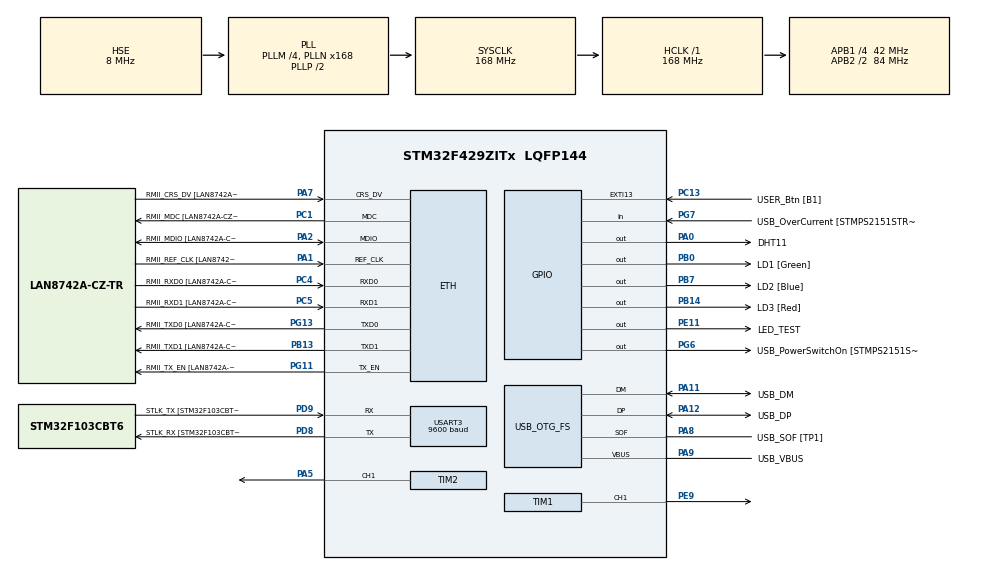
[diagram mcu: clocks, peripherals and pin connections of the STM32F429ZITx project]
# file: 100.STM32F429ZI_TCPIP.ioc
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ETH.MACAddr=00\:80\:E1\:00\:00\:78
ETH.MediaInterface=ETH_MEDIA_INTERFACE_RMII
ETH.PHY_Name=LAN8742A_PHY_ADDRESS
ETH.PHY_Value=0
ETH.PhyAddress=0
LWIP.GATEWAY_ADDRESS=010.010.016.254
LWIP.IP_ADDRESS=010.010.016.120
LWIP.LWIP_DHCP=0
LWIP.NETMASK_ADDRESS=255.255.255.000
LWIP.Version=v2.1.2_Cube
Mcu.Family=STM32F4
Mcu.Name=STM32F429ZITx
Mcu.Package=LQFP144
NVIC.ETH_IRQn=true\:0\:0\:false\:false\:true\:true\:true
NVIC.ETH_WKUP_IRQn=true\:0\:0\:false\:false\:true\:true\:true
NVIC.PriorityGroup=NVIC_PRIORITYGROUP_4
NVIC.TIM1_TRG_COM_TIM11_IRQn=true\:0\:0\:false\:false\:true\:true\:true
NVIC.TIM1_UP_TIM10_IRQn=true\:0\:0\:false\:false\:true\:true\:true
NVIC.TIM2_IRQn=true\:0\:0\:false\:false\:true\:true\:true
NVIC.USART3_IRQn=true\:0\:0\:false\:false\:true\:true\:true
PA0/WKUP.GPIO_Label=DHT11
PA0/WKUP.Signal=GPIO_Output
PA1.GPIO_Label=RMII_REF_CLK [LAN8742A-CZ-TR_REFCLK0]
PA1.Mode=RMII
PA1.Signal=ETH_REF_CLK
PA10.GPIO_Label=USB_ID
PA10.Signal=USB_OTG_FS_ID
PA11.GPIO_Label=USB_DM
PA11.Mode=Device_Only
PA11.Signal=USB_OTG_FS_DM
PA12.GPIO_Label=USB_DP
PA12.Mode=Device_Only
PA12.Signal=USB_OTG_FS_DP
PA13.GPIO_Label=TMS
PA13.Mode=Serial_Wire
PA13.Signal=SYS_JTMS-SWDIO
PA14.GPIO_Label=TCK
PA14.Mode=Serial_Wire
PA14.Signal=SYS_JTCK-SWCLK
PA2.GPIO_Label=RMII_MDIO [LAN8742A-CZ-TR_MDIO]
PA2.Mode=RMII
PA2.Signal=ETH_MDIO
PA5.Signal=S_TIM2_CH1_ETR
PA7.GPIO_Label=RMII_CRS_DV [LAN8742A-CZ-TR_CRS_DV]
PA7.Mode=RMII
PA7.Signal=ETH_CRS_DV
PA8.GPIO_Label=USB_SOF [TP1]
PA8.Mode=Activate_SOF_FS
PA8.Signal=USB_OTG_FS_SOF
PA9.GPIO_Label=USB_VBUS
PA9.Mode=Activate_VBUS
PA9.Signal=USB_OTG_FS_VBUS
PB0.GPIO_Label=LD1 [Green]
PB0.Signal=GPIO_Output
PB13.GPIO_Label=RMII_TXD1 [LAN8742A-CZ-TR_TXD1]
PB13.Mode=RMII
PB13.Signal=ETH_TXD1
PB14.GPIO_Label=LD3 [Red]
PB14.Signal=GPIO_Output
PB7.GPIO_Label=LD2 [Blue]
PB7.Signal=GPIO_Output
PC1.GPIO_Label=RMII_MDC [LAN8742A-CZ-TR_MDC]
PC1.Mode=RMII
PC1.Signal=ETH_MDC
PC13.GPIO_Label=USER_Btn [B1]
PC13.Signal=GPXTI13
PC14/OSC32_IN.Mode=LSE-External-Oscillator
PC14/OSC32_IN.Signal=RCC_OSC32_IN
PC15/OSC32_OUT.Mode=LSE-External-Oscillator
PC15/OSC32_OUT.Signal=RCC_OSC32_OUT
PC4.GPIO_Label=RMII_RXD0 [LAN8742A-CZ-TR_RXD0]
PC4.Mode=RMII
PC4.Signal=ETH_RXD0
PC5.GPIO_Label=RMII_RXD1 [LAN8742A-CZ-TR_RXD1]
PC5.Mode=RMII
PC5.Signal=ETH_RXD1
PD8.GPIO_Label=STLK_RX [STM32F103CBT6_PA3]
PD8.Mode=Asynchronous
PD8.Signal=USART3_TX
PD9.GPIO_Label=STLK_TX [STM32F103CBT6_PA2]
PD9.Mode=Asynchronous
PD9.Signal=USART3_RX
PE11.GPIO_Label=LED_TEST
PE11.Signal=GPIO_Output
PE9.Signal=S_TIM1_CH1
PG11.GPIO_Label=RMII_TX_EN [LAN8742A-CZ-TR_TXEN]
PG11.Mode=RMII
PG11.Signal=ETH_TX_EN
PG13.GPIO_Label=RMII_TXD0 [LAN8742A-CZ-TR_TXD0]
PG13.Mode=RMII
PG13.Signal=ETH_TXD0
PG6.GPIO_Label=USB_PowerSwitchOn [STMPS2151STR_EN]
PG6.Signal=GPIO_Output
PG7.GPIO_Label=USB_OverCurrent [STMPS2151STR_FAULT]
PG7.Signal=GPIO_Input
PH0/OSC_IN.GPIO_Label=MCO [STM32F103CBT6_PA8]
PH0/OSC_IN.Mode=HSE-External-Clock-Source
PH0/OSC_IN.Signal=RCC_OSC_IN
PH1/OSC_OUT.Mode=HSE-External-Clock-Source
PH1/OSC_OUT.Signal=RCC_OSC_OUT
ProjectManager.HeapSize=0x200
ProjectManager.StackSize=0x400
ProjectManager.TargetToolchain=STM32CubeIDE
RCC.48MHZClocksFreq_Value=48000000
RCC.AHBFreq_Value=168000000
RCC.APB1CLKDivider=RCC_HCLK_DIV4
RCC.APB1Freq_Value=42000000
RCC.APB1TimFreq_Value=84000000
RCC.APB2CLKDivider=RCC_HCLK_DIV2
RCC.APB2Freq_Value=84000000
RCC.APB2TimCLKDivider=2
RCC.APB2TimFreq_Value=168000000
RCC.CortexFreq_Value=168000000
RCC.HCLKFreq_Value=168000000
RCC.HSE_VALUE=8000000
RCC.HSI_VALUE=16000000
RCC.PLLM=4
RCC.PLLMUL=RCC_PLL_MUL9
RCC.PLLN=168
RCC.PLLQ=7
RCC.PRESCALERUSB=RCC_USBCLKSOURCE_PLL_DIV1_5
RCC.SYSCLKFreq_VALUE=168000000
RCC.SYSCLKSource=RCC_SYSCLKSOURCE_PLLCLK
RCC.SYSCLKSourceVirtual=RCC_SYSCLKSOURCE_PLLCLK
RCC.USBFreq_Value=48000000
RCC.VCOOutputFreq_Value=336000000
SH.S_TIM1_CH1.0=TIM1_CH1,PWM Generation1 CH1
SH.S_TIM2_CH1_ETR.0=TIM2_CH1,PWM Generation1 CH1
TIM1.Channel-PWM\ Generation1\ CH1=TIM_CHANNEL_1
TIM1.Period=1000-1
TIM1.Prescaler=168-1
TIM10.Prescaler=168-1
TIM11.Period=1000-1
TIM11.Prescaler=168-1
TIM2.Channel-PWM\ Generation1\ CH1=TIM_CHANNEL_1
TIM2.Period=1000-1
TIM2.Prescaler=1680-1
USART3.BaudRate=9600
USART3.VirtualMode=VM_ASYNC
USB_OTG_FS.VirtualMode=Device_Only
VP_LWIP_VS_Enabled.Mode=Enabled
VP_TIM10_VS_ClockSourceINT.Mode=Enable_Timer
VP_TIM11_VS_ClockSourceINT.Mode=Enable_Timer
VP_TIM1_VS_ClockSourceINT.Mode=Internal
VP_TIM2_VS_ClockSourceINT.Mode=Internal
board=NUCLEO-F429ZI

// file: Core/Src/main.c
/* USER CODE BEGIN Header */
/**
  ******************************************************************************
  * @file           : main.c
  * @brief          : Main program body
  ******************************************************************************
  * @attention
  *
  * <h2><center>&copy; Copyright (c) 2024 STMicroelectronics.
  * All rights reserved.</center></h2>
  *
  * This software component is licensed by ST under BSD 3-Clause license,
  * the "License"; You may not use this file except in compliance with the
  * License. You may obtain a copy of the License at:
  *                        opensource.org/licenses/BSD-3-Clause
  *
  ******************************************************************************
  */
/* USER CODE END Header */
#include "main.h"
#include "lwip.h"

/* USER CODE BEGIN Includes */
#include "lwip/udp.h"     // ADD_SIKWON
#include "udp_echoserver.h"  // ADD_SIKWON
#include "servomotor.h"
#include "pwm_led.h"
/* USER CODE END Includes */

/* USER CODE BEGIN PD */
//-------- UDP start ------------
extern struct netif gnetif;
extern struct udp_pcb *upcb1;    // Add	UDP Control Block
ip_addr_t addr1;   // Add
extern uint8_t udp_data[100];    // Add
struct pbuf *p1;    // Add  Send buffer
char temp_and_humid[40] = "";
char dht11_interval_arr[40] = "";
extern uint8_t i_RH, d_RH, i_Tmp, d_Tmp;
static int dht11_interval=1;
extern uint8_t dht11_interval_flag;
//--------- UDP end ------------
/* USER CODE END PD */

TIM_HandleTypeDef htim1;
TIM_HandleTypeDef htim2;
TIM_HandleTypeDef htim10;
TIM_HandleTypeDef htim11;

UART_HandleTypeDef huart3;

PCD_HandleTypeDef hpcd_USB_OTG_FS;

void SystemClock_Config(void);
static void MX_GPIO_Init(void);
static void MX_USART3_UART_Init(void);
static void MX_USB_OTG_FS_PCD_Init(void);
static void MX_TIM10_Init(void);
static void MX_TIM11_Init(void);
static void MX_TIM1_Init(void);
static void MX_TIM2_Init(void);
/* USER CODE BEGIN PFP */
extern void DHT11_Init(void);
extern void DHT11_processing(void);

/* USER CODE END PFP */

/* USER CODE BEGIN 0 */
/**
  * @brief  Period elapsed callback in non-blocking mode
  * @param  htim TIM handle
  * @retval None
  */
volatile int TIM11_counter=0;
volatile int TIM11_1ms_servo_count=0;
void HAL_TIM_PeriodElapsedCallback(TIM_HandleTypeDef *htim)
{
	if(htim->Instance == TIM11){
		TIM11_counter++;
		TIM11_1ms_servo_count++;
	}

}
/* USER CODE END 0 */

int main(void)
{

  /* MCU Configuration--------------------------------------------------------*/

  /* Reset of all peripherals, Initializes the Flash interface and the Systick. */
  HAL_Init();

  /* Configure the system clock */
  SystemClock_Config();

  /* Initialize all configured peripherals */
  MX_GPIO_Init();
  MX_USART3_UART_Init();
  MX_USB_OTG_FS_PCD_Init();
  MX_LWIP_Init();
  MX_TIM10_Init();
  MX_TIM11_Init();
  MX_TIM1_Init();
  MX_TIM2_Init();
  /* USER CODE BEGIN 2 */
  HAL_TIM_Base_Start_IT(&htim11);  // ADD_MIKE_0614
  HAL_TIM_Base_Start_IT(&htim10);  // ADD_MIKE_0614
  /* PWM START */
  HAL_TIM_PWM_Start(&htim2, TIM_CHANNEL_1); // ADD_PWM_SERVO_MOTOR
  HAL_TIM_PWM_Start(&htim1, TIM_CHANNEL_1); // ADD_PWM_LED
  //-------- TCP/IP start -------------------
  udp_echoserver_init();  // ADD_SIKWON
  upcb1 = udp_new();    // ADD create new UDP control block
  IP4_ADDR(&addr1, 10,10,16,27);   // ADD client PC IP address
  udp_bind(upcb1, IP_ADDR_ANY,9999); // ADD S/W port
  //-------- TCP/IP end ---------------------
  DHT11_Init();
  /* USER CODE END 2 */

  /* Infinite loop */
  /* USER CODE BEGIN WHILE */
  while (1)
  {
	ethernetif_input(&gnetif);  // make ethernet packet as input mode
	sys_check_timeouts();   //timeout check
	servo_motor_in_PWM_manner();

	turn_on_LED_in_PWM_manner();

	if(dht11_interval_flag == 1){
		dht11_interval_flag = 0;
		HAL_GPIO_TogglePin(GPIOB, LD2_Pin); // to debug..
		//received data : "DHT11:3"
		strncpy(dht11_interval_arr,udp_data+6,2);
		dht11_interval = atoi(dht11_interval_arr);
	}

	if(TIM11_counter >= 1000 * dht11_interval){
		TIM11_counter = 0;
		DHT11_processing(); // call DHT11 processing

		sprintf(temp_and_humid, "[Tmp]%d [Hum]%d\n",(int) i_Tmp, (int) i_RH);
//		printf("[Tmp]%d [Hum]%d\n",(int) i_Tmp, (int) i_RH);

		HAL_UART_Transmit(&huart3, temp_and_humid, strlen(temp_and_humid), 30); // timeout : 30ms!!!
		udp_connect(upcb1, &addr1, 9999); // make udp connection using 9999 local pc port
		p1 = pbuf_alloc(PBUF_TRANSPORT, strlen((char*) temp_and_humid),
				PBUF_POOL); // assign system buffer to "p1"
		if (p1 != NULL) // OK alloc
		{
			// 1. copy data to pbuf
			pbuf_take(p1, (char*) temp_and_humid, strlen((char*) temp_and_humid));
			// 2. send udp data
			udp_send(upcb1, p1);
			// 3. free the UDP connection
			udp_disconnect(upcb1);
			// 4. free pbuf
			pbuf_free(p1);
		} else {
			HAL_UART_Transmit(&huart3, "pbuf not alloc!!\n",
					strlen("pbuf not alloc!!\n"), 10);
		}
	}
    /* USER CODE END WHILE */

  }
}

void SystemClock_Config(void)
{
  RCC_OscInitTypeDef RCC_OscInitStruct = {0};
  RCC_ClkInitTypeDef RCC_ClkInitStruct = {0};

  /** Configure the main internal regulator output voltage
  */
  __HAL_RCC_PWR_CLK_ENABLE();
  __HAL_PWR_VOLTAGESCALING_CONFIG(PWR_REGULATOR_VOLTAGE_SCALE1);
  /** Initializes the RCC Oscillators according to the specified parameters
  * in the RCC_OscInitTypeDef structure.
  */
  RCC_OscInitStruct.OscillatorType = RCC_OSCILLATORTYPE_HSE;
  RCC_OscInitStruct.HSEState = RCC_HSE_BYPASS;
  RCC_OscInitStruct.PLL.PLLState = RCC_PLL_ON;
  RCC_OscInitStruct.PLL.PLLSource = RCC_PLLSOURCE_HSE;
  RCC_OscInitStruct.PLL.PLLM = 4;
  RCC_OscInitStruct.PLL.PLLN = 168;
  RCC_OscInitStruct.PLL.PLLP = RCC_PLLP_DIV2;
  RCC_OscInitStruct.PLL.PLLQ = 7;
  if (HAL_RCC_OscConfig(&RCC_OscInitStruct) != HAL_OK)
  {
    Error_Handler();
  }
  /** Initializes the CPU, AHB and APB buses clocks
  */
  RCC_ClkInitStruct.ClockType = RCC_CLOCKTYPE_HCLK|RCC_CLOCKTYPE_SYSCLK
                              |RCC_CLOCKTYPE_PCLK1|RCC_CLOCKTYPE_PCLK2;
  RCC_ClkInitStruct.SYSCLKSource = RCC_SYSCLKSOURCE_PLLCLK;
  RCC_ClkInitStruct.AHBCLKDivider = RCC_SYSCLK_DIV1;
  RCC_ClkInitStruct.APB1CLKDivider = RCC_HCLK_DIV4;
  RCC_ClkInitStruct.APB2CLKDivider = RCC_HCLK_DIV2;

  if (HAL_RCC_ClockConfig(&RCC_ClkInitStruct, FLASH_LATENCY_5) != HAL_OK)
  {
    Error_Handler();
  }
}

static void MX_TIM1_Init(void)
{

  TIM_ClockConfigTypeDef sClockSourceConfig = {0};
  TIM_MasterConfigTypeDef sMasterConfig = {0};
  TIM_OC_InitTypeDef sConfigOC = {0};
  TIM_BreakDeadTimeConfigTypeDef sBreakDeadTimeConfig = {0};

  htim1.Instance = TIM1;
  htim1.Init.Prescaler = 168-1;
  htim1.Init.CounterMode = TIM_COUNTERMODE_UP;
  htim1.Init.Period = 1000-1;
  htim1.Init.ClockDivision = TIM_CLOCKDIVISION_DIV1;
  htim1.Init.RepetitionCounter = 0;
  htim1.Init.AutoReloadPreload = TIM_AUTORELOAD_PRELOAD_DISABLE;
  if (HAL_TIM_Base_Init(&htim1) != HAL_OK)
  {
    Error_Handler();
  }
  sClockSourceConfig.ClockSource = TIM_CLOCKSOURCE_INTERNAL;
  if (HAL_TIM_ConfigClockSource(&htim1, &sClockSourceConfig) != HAL_OK)
  {
    Error_Handler();
  }
  if (HAL_TIM_PWM_Init(&htim1) != HAL_OK)
  {
    Error_Handler();
  }
  sMasterConfig.MasterOutputTrigger = TIM_TRGO_RESET;
  sMasterConfig.MasterSlaveMode = TIM_MASTERSLAVEMODE_DISABLE;
  if (HAL_TIMEx_MasterConfigSynchronization(&htim1, &sMasterConfig) != HAL_OK)
  {
    Error_Handler();
  }
  sConfigOC.OCMode = TIM_OCMODE_PWM1;
  sConfigOC.Pulse = 0;
  sConfigOC.OCPolarity = TIM_OCPOLARITY_HIGH;
  sConfigOC.OCNPolarity = TIM_OCNPOLARITY_HIGH;
  sConfigOC.OCFastMode = TIM_OCFAST_DISABLE;
  sConfigOC.OCIdleState = TIM_OCIDLESTATE_RESET;
  sConfigOC.OCNIdleState = TIM_OCNIDLESTATE_RESET;
  if (HAL_TIM_PWM_ConfigChannel(&htim1, &sConfigOC, TIM_CHANNEL_1) != HAL_OK)
  {
    Error_Handler();
  }
  sBreakDeadTimeConfig.OffStateRunMode = TIM_OSSR_DISABLE;
  sBreakDeadTimeConfig.OffStateIDLEMode = TIM_OSSI_DISABLE;
  sBreakDeadTimeConfig.LockLevel = TIM_LOCKLEVEL_OFF;
  sBreakDeadTimeConfig.DeadTime = 0;
  sBreakDeadTimeConfig.BreakState = TIM_BREAK_DISABLE;
  sBreakDeadTimeConfig.BreakPolarity = TIM_BREAKPOLARITY_HIGH;
  sBreakDeadTimeConfig.AutomaticOutput = TIM_AUTOMATICOUTPUT_DISABLE;
  if (HAL_TIMEx_ConfigBreakDeadTime(&htim1, &sBreakDeadTimeConfig) != HAL_OK)
  {
    Error_Handler();
  }
  HAL_TIM_MspPostInit(&htim1);

}

static void MX_TIM2_Init(void)
{

  TIM_ClockConfigTypeDef sClockSourceConfig = {0};
  TIM_MasterConfigTypeDef sMasterConfig = {0};
  TIM_OC_InitTypeDef sConfigOC = {0};

  htim2.Instance = TIM2;
  htim2.Init.Prescaler = 1680-1;
  htim2.Init.CounterMode = TIM_COUNTERMODE_UP;
  htim2.Init.Period = 1000-1;
  htim2.Init.ClockDivision = TIM_CLOCKDIVISION_DIV1;
  htim2.Init.AutoReloadPreload = TIM_AUTORELOAD_PRELOAD_DISABLE;
  if (HAL_TIM_Base_Init(&htim2) != HAL_OK)
  {
    Error_Handler();
  }
  sClockSourceConfig.ClockSource = TIM_CLOCKSOURCE_INTERNAL;
  if (HAL_TIM_ConfigClockSource(&htim2, &sClockSourceConfig) != HAL_OK)
  {
    Error_Handler();
  }
  if (HAL_TIM_PWM_Init(&htim2) != HAL_OK)
  {
    Error_Handler();
  }
  sMasterConfig.MasterOutputTrigger = TIM_TRGO_RESET;
  sMasterConfig.MasterSlaveMode = TIM_MASTERSLAVEMODE_DISABLE;
  if (HAL_TIMEx_MasterConfigSynchronization(&htim2, &sMasterConfig) != HAL_OK)
  {
    Error_Handler();
  }
  sConfigOC.OCMode = TIM_OCMODE_PWM1;
  sConfigOC.Pulse = 0;
  sConfigOC.OCPolarity = TIM_OCPOLARITY_HIGH;
  sConfigOC.OCFastMode = TIM_OCFAST_DISABLE;
  if (HAL_TIM_PWM_ConfigChannel(&htim2, &sConfigOC, TIM_CHANNEL_1) != HAL_OK)
  {
    Error_Handler();
  }
  HAL_TIM_MspPostInit(&htim2);

}

static void MX_TIM10_Init(void)
{

  htim10.Instance = TIM10;
  htim10.Init.Prescaler = 168-1;
  htim10.Init.CounterMode = TIM_COUNTERMODE_UP;
  htim10.Init.Period = 65535;
  htim10.Init.ClockDivision = TIM_CLOCKDIVISION_DIV1;
  htim10.Init.AutoReloadPreload = TIM_AUTORELOAD_PRELOAD_DISABLE;
  if (HAL_TIM_Base_Init(&htim10) != HAL_OK)
  {
    Error_Handler();
  }

}

static void MX_TIM11_Init(void)
{

  htim11.Instance = TIM11;
  htim11.Init.Prescaler = 168-1;
  htim11.Init.CounterMode = TIM_COUNTERMODE_UP;
  htim11.Init.Period = 1000-1;
  htim11.Init.ClockDivision = TIM_CLOCKDIVISION_DIV1;
  htim11.Init.AutoReloadPreload = TIM_AUTORELOAD_PRELOAD_DISABLE;
  if (HAL_TIM_Base_Init(&htim11) != HAL_OK)
  {
    Error_Handler();
  }

}

static void MX_USART3_UART_Init(void)
{

  huart3.Instance = USART3;
  huart3.Init.BaudRate = 9600;
  huart3.Init.WordLength = UART_WORDLENGTH_8B;
  huart3.Init.StopBits = UART_STOPBITS_1;
  huart3.Init.Parity = UART_PARITY_NONE;
  huart3.Init.Mode = UART_MODE_TX_RX;
  huart3.Init.HwFlowCtl = UART_HWCONTROL_NONE;
  huart3.Init.OverSampling = UART_OVERSAMPLING_16;
  if (HAL_UART_Init(&huart3) != HAL_OK)
  {
    Error_Handler();
  }

}

static void MX_USB_OTG_FS_PCD_Init(void)
{

  hpcd_USB_OTG_FS.Instance = USB_OTG_FS;
  hpcd_USB_OTG_FS.Init.dev_endpoints = 4;
  hpcd_USB_OTG_FS.Init.speed = PCD_SPEED_FULL;
  hpcd_USB_OTG_FS.Init.dma_enable = DISABLE;
  hpcd_USB_OTG_FS.Init.phy_itface = PCD_PHY_EMBEDDED;
  hpcd_USB_OTG_FS.Init.Sof_enable = ENABLE;
  hpcd_USB_OTG_FS.Init.low_power_enable = DISABLE;
  hpcd_USB_OTG_FS.Init.lpm_enable = DISABLE;
  hpcd_USB_OTG_FS.Init.vbus_sensing_enable = ENABLE;
  hpcd_USB_OTG_FS.Init.use_dedicated_ep1 = DISABLE;
  if (HAL_PCD_Init(&hpcd_USB_OTG_FS) != HAL_OK)
  {
    Error_Handler();
  }

}

static void MX_GPIO_Init(void)
{
  GPIO_InitTypeDef GPIO_InitStruct = {0};

  /* GPIO Ports Clock Enable */
  __HAL_RCC_GPIOC_CLK_ENABLE();
  __HAL_RCC_GPIOH_CLK_ENABLE();
  __HAL_RCC_GPIOA_CLK_ENABLE();
  __HAL_RCC_GPIOB_CLK_ENABLE();
  __HAL_RCC_GPIOE_CLK_ENABLE();
  __HAL_RCC_GPIOD_CLK_ENABLE();
  __HAL_RCC_GPIOG_CLK_ENABLE();

  /*Configure GPIO pin Output Level */
  HAL_GPIO_WritePin(DHT11_GPIO_Port, DHT11_Pin, GPIO_PIN_RESET);

  /*Configure GPIO pin Output Level */
  HAL_GPIO_WritePin(GPIOB, LD1_Pin|LD3_Pin|LD2_Pin, GPIO_PIN_RESET);

  /*Configure GPIO pin Output Level */
  HAL_GPIO_WritePin(LED_TEST_GPIO_Port, LED_TEST_Pin, GPIO_PIN_RESET);

  /*Configure GPIO pin Output Level */
  HAL_GPIO_WritePin(USB_PowerSwitchOn_GPIO_Port, USB_PowerSwitchOn_Pin, GPIO_PIN_RESET);

  /*Configure GPIO pin : USER_Btn_Pin */
  GPIO_InitStruct.Pin = USER_Btn_Pin;
  GPIO_InitStruct.Mode = GPIO_MODE_IT_RISING;
  GPIO_InitStruct.Pull = GPIO_NOPULL;
  HAL_GPIO_Init(USER_Btn_GPIO_Port, &GPIO_InitStruct);

  /*Configure GPIO pin : DHT11_Pin */
  GPIO_InitStruct.Pin = DHT11_Pin;
  GPIO_InitStruct.Mode = GPIO_MODE_OUTPUT_PP;
  GPIO_InitStruct.Pull = GPIO_NOPULL;
  GPIO_InitStruct.Speed = GPIO_SPEED_FREQ_LOW;
  HAL_GPIO_Init(DHT11_GPIO_Port, &GPIO_InitStruct);

  /*Configure GPIO pins : LD1_Pin LD3_Pin LD2_Pin */
  GPIO_InitStruct.Pin = LD1_Pin|LD3_Pin|LD2_Pin;
  GPIO_InitStruct.Mode = GPIO_MODE_OUTPUT_PP;
  GPIO_InitStruct.Pull = GPIO_NOPULL;
  GPIO_InitStruct.Speed = GPIO_SPEED_FREQ_LOW;
  HAL_GPIO_Init(GPIOB, &GPIO_InitStruct);

  /*Configure GPIO pin : LED_TEST_Pin */
  GPIO_InitStruct.Pin = LED_TEST_Pin;
  GPIO_InitStruct.Mode = GPIO_MODE_OUTPUT_PP;
  GPIO_InitStruct.Pull = GPIO_NOPULL;
  GPIO_InitStruct.Speed = GPIO_SPEED_FREQ_LOW;
  HAL_GPIO_Init(LED_TEST_GPIO_Port, &GPIO_InitStruct);

  /*Configure GPIO pin : USB_PowerSwitchOn_Pin */
  GPIO_InitStruct.Pin = USB_PowerSwitchOn_Pin;
  GPIO_InitStruct.Mode = GPIO_MODE_OUTPUT_PP;
  GPIO_InitStruct.Pull = GPIO_NOPULL;
  GPIO_InitStruct.Speed = GPIO_SPEED_FREQ_LOW;
  HAL_GPIO_Init(USB_PowerSwitchOn_GPIO_Port, &GPIO_InitStruct);

  /*Configure GPIO pin : USB_OverCurrent_Pin */
  GPIO_InitStruct.Pin = USB_OverCurrent_Pin;
  GPIO_InitStruct.Mode = GPIO_MODE_INPUT;
  GPIO_InitStruct.Pull = GPIO_NOPULL;
  HAL_GPIO_Init(USB_OverCurrent_GPIO_Port, &GPIO_InitStruct);

}

void Error_Handler(void)
{
  __disable_irq();
  while (1)
  {
  }
}

/************************ (C) COPYRIGHT STMicroelectronics *****END OF FILE****/
